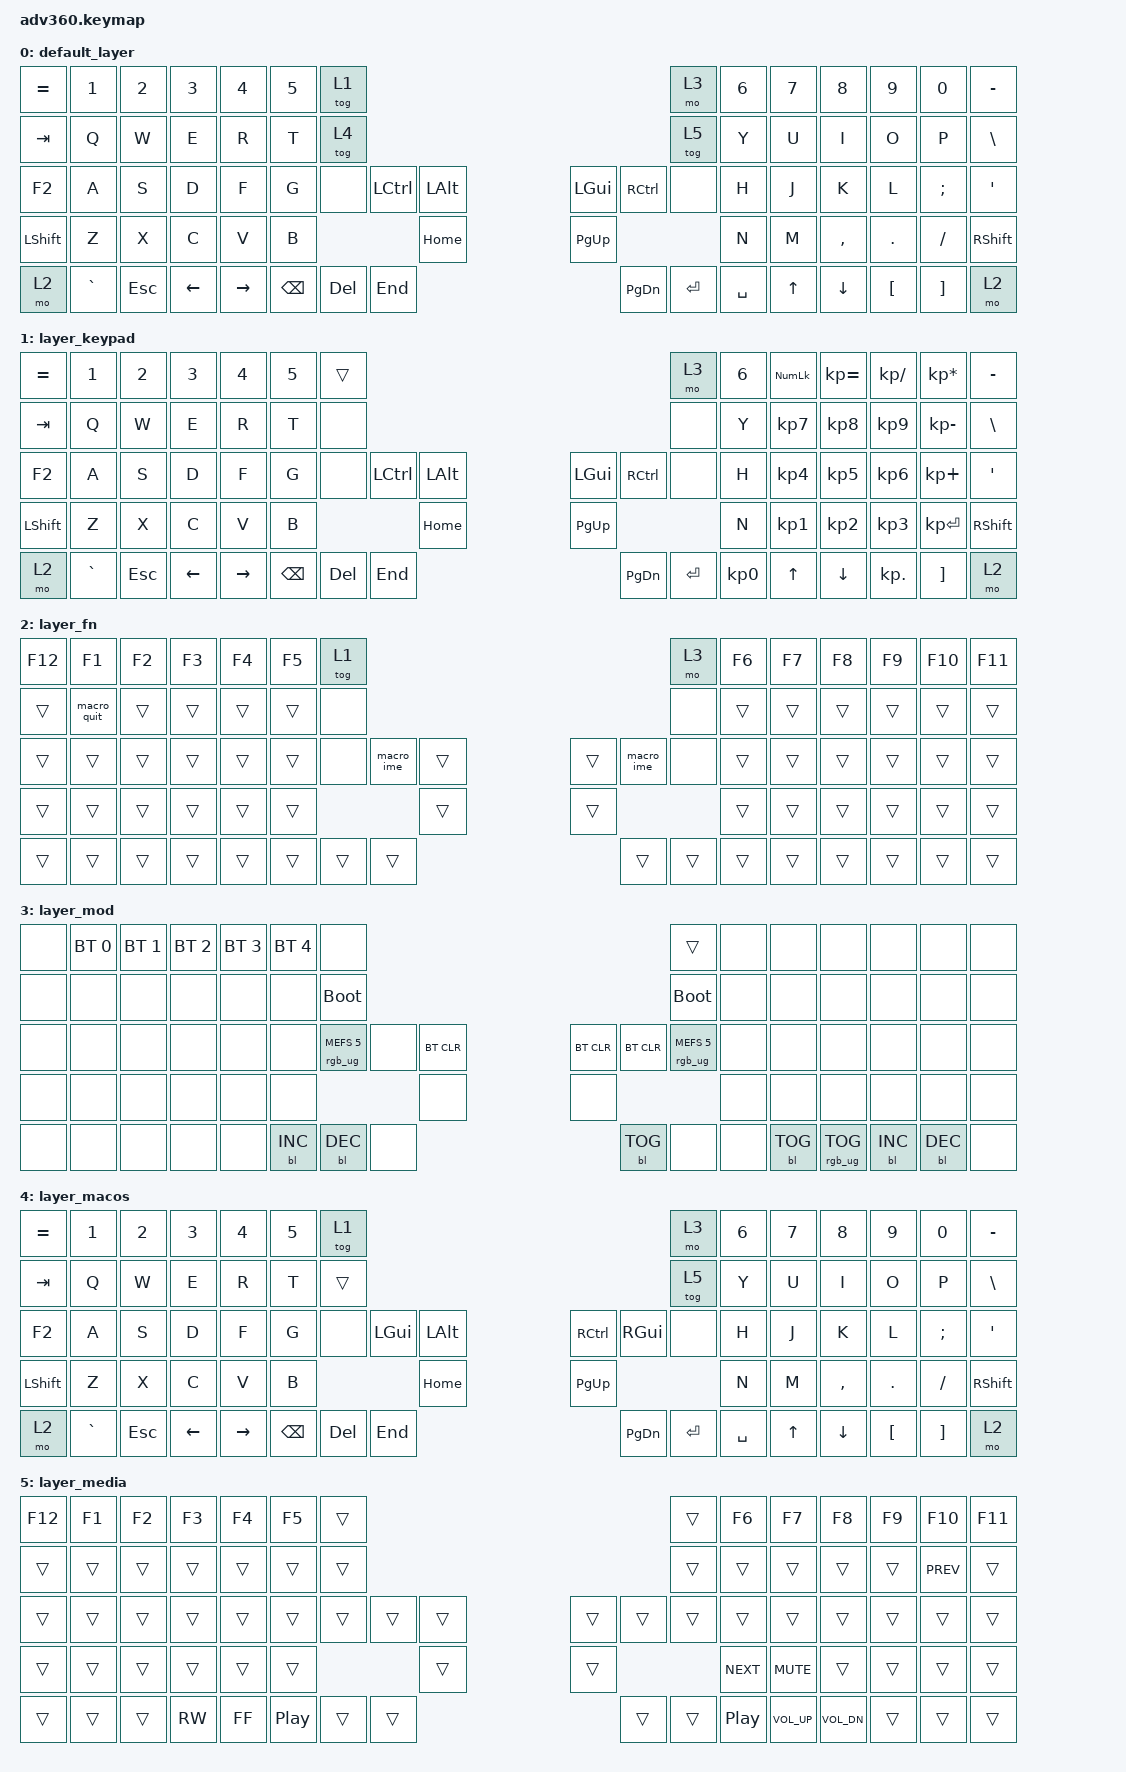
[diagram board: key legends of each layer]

/*
 * Copyright (c) 2020 The ZMK Contributors
 *
 * SPDX-License-Identifier: MIT
 */


/* THIS FILE WAS GENERATED!
 *
 * This file was generated automatically. You may or may not want to
 * edit it directly.
 */

#include <behaviors.dtsi>
#include <dt-bindings/zmk/keys.h>
#include <dt-bindings/zmk/bt.h>
#include <dt-bindings/zmk/rgb.h>
#include <dt-bindings/zmk/backlight.h>

/ {
  behaviors {
    #include "macros.dtsi"

    hm: homerow_mods {
        compatible = "zmk,behavior-hold-tap";
        label = "HOMEROW_MODS";
        #binding-cells = <2>;
        tapping-term-ms = <200>;
        quick_tap_ms = <175>;
        flavor = "tap-preferred";
        bindings = <&kp>, <&kp>;
    };
  };

    keymap {
        compatible = "zmk,keymap";


        default_layer {
            bindings = <
 &kp EQUAL     &kp N1   &kp N2    &kp N3     &kp N4  &kp N5              &tog 1                                                                 &mo 3  &kp N6  &kp N7     &kp N8    &kp N9    &kp N0  &kp MINUS
   &kp TAB      &kp Q    &kp W     &kp E      &kp R   &kp T              &tog 4                                                                &tog 5   &kp Y   &kp U      &kp I     &kp O     &kp P   &kp BSLH
    &kp F2      &kp A    &kp S     &kp D      &kp F   &kp G               &none  &kp LCTRL  &kp LALT                   &kp LGUI  &kp RCTRL      &none   &kp H   &kp J      &kp K     &kp L  &kp SEMI    &kp SQT
 &kp LSHFT      &kp Z    &kp X     &kp C      &kp V   &kp B                                 &kp HOME                  &kp PG_UP                         &kp N   &kp M  &kp COMMA   &kp DOT  &kp FSLH  &kp RSHFT
     &mo 2  &kp GRAVE  &kp ESC  &kp LEFT  &kp RIGHT                    &kp BSPC    &kp DEL   &kp END                  &kp PG_DN  &kp ENTER  &kp SPACE          &kp UP   &kp DOWN  &kp LBKT  &kp RBKT      &mo 2
            >;
        };

        layer_keypad {
            bindings = <
 &kp EQUAL     &kp N1   &kp N2    &kp N3     &kp N4  &kp N5              &trans                                                                 &mo 3  &kp N6  &kp KP_NUM  &kp KP_EQUAL  &kp KP_DIVIDE  &kp KP_MULTIPLY  &kp MINUS
   &kp TAB      &kp Q    &kp W     &kp E      &kp R   &kp T               &none                                                                 &none   &kp Y   &kp KP_N7     &kp KP_N8      &kp KP_N9     &kp KP_MINUS   &kp BSLH
    &kp F2      &kp A    &kp S     &kp D      &kp F   &kp G               &none  &kp LCTRL  &kp LALT                   &kp LGUI  &kp RCTRL      &none   &kp H   &kp KP_N4     &kp KP_N5      &kp KP_N6      &kp KP_PLUS    &kp SQT
 &kp LSHFT      &kp Z    &kp X     &kp C      &kp V   &kp B                                 &kp HOME                  &kp PG_UP                         &kp N   &kp KP_N1     &kp KP_N2      &kp KP_N3     &kp KP_ENTER  &kp RSHFT
     &mo 2  &kp GRAVE  &kp ESC  &kp LEFT  &kp RIGHT                    &kp BSPC    &kp DEL   &kp END                  &kp PG_DN  &kp ENTER  &kp KP_N0              &kp UP      &kp DOWN     &kp KP_DOT         &kp RBKT      &mo 2
            >;
        };

        layer_fn {
            bindings = <
 &kp F12       &kp F1  &kp F2  &kp F3  &kp F4  &kp F5            &tog 1                                                           &mo 3  &kp F6  &kp F7  &kp F8  &kp F9  &kp F10  &kp F11
  &trans  &macro_quit  &trans  &trans  &trans  &trans             &none                                                           &none  &trans  &trans  &trans  &trans   &trans   &trans
  &trans       &trans  &trans  &trans  &trans  &trans             &none  &macro_ime  &trans                  &trans  &macro_ime   &none  &trans  &trans  &trans  &trans   &trans   &trans
  &trans       &trans  &trans  &trans  &trans  &trans                                &trans                  &trans                      &trans  &trans  &trans  &trans   &trans   &trans
  &trans       &trans  &trans  &trans  &trans                    &trans      &trans  &trans                  &trans      &trans  &trans          &trans  &trans  &trans   &trans   &trans
            >;
        };

        layer_mod {
            bindings = <
  &none  &bt BT_SEL 0  &bt BT_SEL 1  &bt BT_SEL 2  &bt BT_SEL 3  &bt BT_SEL 4                             &none                                                                                  &trans   &none       &none            &none       &none       &none   &none
  &none         &none         &none         &none         &none         &none                       &bootloader                                                                             &bootloader   &none       &none            &none       &none       &none   &none
  &none         &none         &none         &none         &none         &none            &rgb_ug RGB_MEFS_CMD 5       &none  &bt BT_CLR                  &bt BT_CLR  &bt BT_CLR  &rgb_ug RGB_MEFS_CMD 5   &none       &none            &none       &none       &none   &none
  &none         &none         &none         &none         &none         &none                                                     &none                       &none                                       &none       &none            &none       &none       &none   &none
  &none         &none         &none         &none         &none                                      &bl BL_INC  &bl BL_DEC       &none                  &bl BL_TOG       &none                   &none          &bl BL_TOG  &rgb_ug RGB_TOG  &bl BL_INC  &bl BL_DEC   &none
            >;
        };

        layer_macos {
            bindings = <
 &kp EQUAL     &kp N1   &kp N2    &kp N3     &kp N4  &kp N5              &tog 1                                                                &mo 3  &kp N6  &kp N7     &kp N8    &kp N9    &kp N0  &kp MINUS
   &kp TAB      &kp Q    &kp W     &kp E      &kp R   &kp T              &trans                                                               &tog 5   &kp Y   &kp U      &kp I     &kp O     &kp P   &kp BSLH
    &kp F2      &kp A    &kp S     &kp D      &kp F   &kp G               &none  &kp LGUI  &kp LALT                  &kp RCTRL   &kp RGUI      &none   &kp H   &kp J      &kp K     &kp L  &kp SEMI    &kp SQT
 &kp LSHFT      &kp Z    &kp X     &kp C      &kp V   &kp B                                &kp HOME                  &kp PG_UP                         &kp N   &kp M  &kp COMMA   &kp DOT  &kp FSLH  &kp RSHFT
     &mo 2  &kp GRAVE  &kp ESC  &kp LEFT  &kp RIGHT                    &kp BSPC   &kp DEL   &kp END                  &kp PG_DN  &kp ENTER  &kp SPACE          &kp UP   &kp DOWN  &kp LBKT  &kp RBKT      &mo 2
            >;
        };

        layer_media {
            bindings = <
 &kp F12  &kp F1  &kp F2    &kp F3    &kp F4  &kp F5              &trans                                                    &trans      &kp F6        &kp F7        &kp F8  &kp F9     &kp F10  &kp F11
  &trans  &trans  &trans    &trans    &trans  &trans              &trans                                                    &trans      &trans        &trans        &trans  &trans  &kp C_PREV   &trans
  &trans  &trans  &trans    &trans    &trans  &trans              &trans  &trans  &trans                  &trans  &trans    &trans      &trans        &trans        &trans  &trans      &trans   &trans
  &trans  &trans  &trans    &trans    &trans  &trans                              &trans                  &trans                    &kp C_NEXT    &kp C_MUTE        &trans  &trans      &trans   &trans
  &trans  &trans  &trans  &kp C_RW  &kp C_FF                    &kp C_PP  &trans  &trans                  &trans  &trans  &kp C_PP              &kp C_VOL_UP  &kp C_VOL_DN  &trans      &trans   &trans
            >;
        };

    };
};
